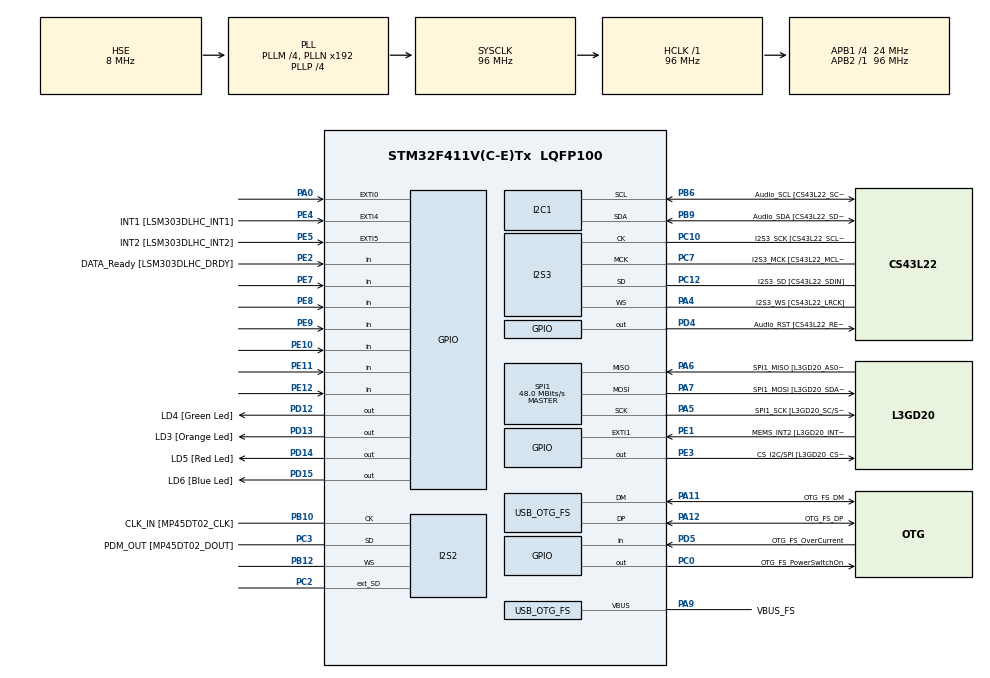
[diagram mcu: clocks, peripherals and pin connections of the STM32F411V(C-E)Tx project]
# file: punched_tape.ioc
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I2S2.AudioFreq=I2S_AUDIOFREQ_96K
I2S2.ErrorAudioFreq=0.15 %
I2S2.FullDuplexMode=I2S_FULLDUPLEXMODE_ENABLE
I2S2.Instance=SPI$Index
I2S2.RealAudioFreq=96.153 KHz
I2S2.VirtualMode=I2S_MODE_MASTER
I2S3.AudioFreq=I2S_AUDIOFREQ_96K
I2S3.ErrorAudioFreq=-6.99 %
I2S3.FullDuplexMode=I2S_FULLDUPLEXMODE_DISABLE
I2S3.Instance=SPI$Index
I2S3.RealAudioFreq=89.285 KHz
I2S3.VirtualMode=I2S_MODE_MASTER
Mcu.Family=STM32F4
Mcu.Name=STM32F411V(C-E)Tx
Mcu.Package=LQFP100
NVIC.OTG_FS_IRQn=true\:0\:0\:false\:false\:true\:true\:true\:true
NVIC.PriorityGroup=NVIC_PRIORITYGROUP_0
PA0-WKUP.GPIO_ModeDefaultEXTI=GPIO_MODE_EVT_RISING
PA0-WKUP.Signal=GPXTI0
PA10.GPIO_Label=OTG_FS_ID
PA10.Signal=USB_OTG_FS_ID
PA11.GPIO_Label=OTG_FS_DM
PA11.Mode=Host_Only
PA11.Signal=USB_OTG_FS_DM
PA12.GPIO_Label=OTG_FS_DP
PA12.Mode=Host_Only
PA12.Signal=USB_OTG_FS_DP
PA13.GPIO_Label=SWDIO
PA13.Mode=Serial_Wire
PA13.Signal=SYS_JTMS-SWDIO
PA14.GPIO_Label=SWCLK
PA14.Mode=Serial_Wire
PA14.Signal=SYS_JTCK-SWCLK
PA4.GPIO_Label=I2S3_WS [CS43L22_LRCK]
PA4.GPIO_Mode=GPIO_MODE_AF_PP
PA4.GPIO_PuPd=GPIO_NOPULL
PA4.GPIO_Speed=GPIO_SPEED_FREQ_LOW
PA4.Mode=Half_Duplex_Master
PA4.Signal=I2S3_WS
PA5.GPIO_Label=SPI1_SCK [L3GD20_SC/SPC]
PA5.Mode=Full_Duplex_Master
PA5.Signal=SPI1_SCK
PA6.GPIO_Label=SPI1_MISO [L3GD20_AS0/SDO]
PA6.Mode=Full_Duplex_Master
PA6.Signal=SPI1_MISO
PA7.GPIO_Label=SPI1_MOSI [L3GD20_SDA/SDI/SDO]
PA7.Mode=Full_Duplex_Master
PA7.Signal=SPI1_MOSI
PA9.GPIO_Label=VBUS_FS
PA9.Mode=Activate_VBUS
PA9.Signal=USB_OTG_FS_VBUS
PB10.GPIO_Label=CLK_IN [MP45DT02_CLK]
PB10.Mode=Full_Duplex_Master
PB10.Signal=I2S2_CK
PB12.Mode=Full_Duplex_Master
PB12.Signal=I2S2_WS
PB3.GPIO_Label=SWO
PB3.Signal=SYS_JTDO-SWO
PB6.GPIO_Label=Audio_SCL [CS43L22_SCL]
PB6.GPIO_Mode=GPIO_MODE_AF_OD
PB6.GPIO_Pu=GPIO_PULLUP
PB6.GPIO_PuPd=GPIO_NOPULL
PB6.GPIO_Speed=GPIO_SPEED_FREQ_LOW
PB6.Mode=I2C
PB6.Signal=I2C1_SCL
PB9.GPIO_Label=Audio_SDA [CS43L22_SDA]
PB9.GPIO_Mode=GPIO_MODE_AF_OD
PB9.GPIO_Pu=GPIO_PULLUP
PB9.GPIO_PuPd=GPIO_NOPULL
PB9.GPIO_Speed=GPIO_SPEED_FREQ_LOW
PB9.Mode=I2C
PB9.Signal=I2C1_SDA
PC0.GPIO_Label=OTG_FS_PowerSwitchOn
PC0.PinState=GPIO_PIN_SET
PC0.Signal=GPIO_Output
PC10.GPIO_Label=I2S3_SCK [CS43L22_SCLK]
PC10.GPIO_Mode=GPIO_MODE_AF_PP
PC10.GPIO_PuPd=GPIO_NOPULL
PC10.GPIO_Speed=GPIO_SPEED_FREQ_LOW
PC10.Mode=Half_Duplex_Master
PC10.Signal=I2S3_CK
PC12.GPIO_Label=I2S3_SD [CS43L22_SDIN]
PC12.GPIO_Mode=GPIO_MODE_AF_PP
PC12.GPIO_PuPd=GPIO_NOPULL
PC12.GPIO_Speed=GPIO_SPEED_FREQ_LOW
PC12.Mode=Half_Duplex_Master
PC12.Signal=I2S3_SD
PC14-OSC32_IN.GPIO_Label=PC14-OSC32_IN
PC14-OSC32_IN.Mode=LSE-External-Oscillator
PC14-OSC32_IN.Signal=RCC_OSC32_IN
PC15-OSC32_OUT.GPIO_Label=PC15-OSC32_OUT
PC15-OSC32_OUT.Mode=LSE-External-Oscillator
PC15-OSC32_OUT.Signal=RCC_OSC32_OUT
PC2.Mode=Full_Duplex_Master
PC2.Signal=I2S2_ext_SD
PC3.GPIO_Label=PDM_OUT [MP45DT02_DOUT]
PC3.Mode=Full_Duplex_Master
PC3.Signal=I2S2_SD
PC7.GPIO_Label=I2S3_MCK [CS43L22_MCLK]
PC7.GPIO_Mode=GPIO_MODE_AF_PP
PC7.GPIO_PuPd=GPIO_NOPULL
PC7.GPIO_Speed=GPIO_SPEED_FREQ_LOW
PC7.Mode=Master_Clock_Activated
PC7.Signal=I2S3_MCK
PD12.GPIO_Label=LD4 [Green Led]
PD12.GPIO_PuPd=GPIO_NOPULL
PD12.GPIO_Speed=GPIO_SPEED_FREQ_LOW
PD12.Signal=GPIO_Output
PD13.GPIO_Label=LD3 [Orange Led]
PD13.GPIO_PuPd=GPIO_NOPULL
PD13.GPIO_Speed=GPIO_SPEED_FREQ_LOW
PD13.Signal=GPIO_Output
PD14.GPIO_Label=LD5 [Red Led]
PD14.GPIO_PuPd=GPIO_NOPULL
PD14.GPIO_Speed=GPIO_SPEED_FREQ_LOW
PD14.Signal=GPIO_Output
PD15.GPIO_Label=LD6 [Blue Led]
PD15.GPIO_PuPd=GPIO_NOPULL
PD15.GPIO_Speed=GPIO_SPEED_FREQ_LOW
PD15.Signal=GPIO_Output
PD4.GPIO_Label=Audio_RST [CS43L22_RESET]
PD4.Signal=GPIO_Output
PD5.GPIO_Label=OTG_FS_OverCurrent
PD5.Signal=GPIO_Input
PE1.GPIO_Label=MEMS_INT2 [L3GD20_INT2]
PE1.GPIO_ModeDefaultEXTI=GPIO_MODE_EVT_RISING
PE1.Signal=GPXTI1
PE10.Signal=GPIO_Input
PE11.Signal=GPIO_Input
PE12.Signal=GPIO_Input
PE2.GPIO_Label=DATA_Ready [LSM303DLHC_DRDY]
PE2.Signal=GPIO_Input
PE3.GPIO_Label=CS_I2C/SPI [L3GD20_CS_I2C/SPI]
PE3.Signal=GPIO_Output
PE4.GPIO_Label=INT1 [LSM303DLHC_INT1]
PE4.GPIO_ModeDefaultEXTI=GPIO_MODE_EVT_RISING
PE4.Signal=GPXTI4
PE5.GPIO_Label=INT2 [LSM303DLHC_INT2]
PE5.GPIO_ModeDefaultEXTI=GPIO_MODE_EVT_RISING
PE5.Signal=GPXTI5
PE7.Signal=GPIO_Input
PE8.Signal=GPIO_Input
PE9.Signal=GPIO_Input
PH0\ -\ OSC_IN.GPIO_Label=PH0-OSC_IN
PH0\ -\ OSC_IN.Mode=HSE-External-Oscillator
PH0\ -\ OSC_IN.Signal=RCC_OSC_IN
PH1\ -\ OSC_OUT.GPIO_Label=PH1-OSC_OUT
PH1\ -\ OSC_OUT.Mode=HSE-External-Oscillator
PH1\ -\ OSC_OUT.Signal=RCC_OSC_OUT
ProjectManager.HeapSize=0x200
ProjectManager.StackSize=0x400
ProjectManager.TargetToolchain=STM32CubeIDE
RCC.48MHZClocksFreq_Value=48000000
RCC.AHBFreq_Value=96000000
RCC.APB1CLKDivider=RCC_HCLK_DIV4
RCC.APB1Freq_Value=24000000
RCC.APB1TimFreq_Value=48000000
RCC.APB2Freq_Value=96000000
RCC.APB2TimFreq_Value=96000000
RCC.CortexFreq_Value=96000000
RCC.HCLKFreq_Value=96000000
RCC.HSE_VALUE=8000000
RCC.HSI_VALUE=16000000
RCC.PLLI2SM=5
RCC.PLLI2SN=200
RCC.PLLM=4
RCC.PLLP=RCC_PLLP_DIV4
RCC.PLLQ=8
RCC.SYSCLKFreq_VALUE=96000000
RCC.SYSCLKSource=RCC_SYSCLKSOURCE_PLLCLK
RCC.VCOOutputFreq_Value=384000000
SPI1.BaudRatePrescaler=SPI_BAUDRATEPRESCALER_2
SPI1.CalculateBaudRate=48.0 MBits/s
SPI1.Direction=SPI_DIRECTION_2LINES
SPI1.Mode=SPI_MODE_MASTER
SPI1.VirtualType=VM_MASTER
USB_HOST.BSP.number=1
USB_HOST.USBH_HandleTypeDef=hUsbHostFS
USB_HOST.VirtualModeFS=Cdc
USB_HOST0.BSP.STBoard=false
USB_HOST0.BSP.api=Unknown
USB_HOST0.BSP.instance=PC0
USB_HOST0.BSP.ip=GPIO
USB_HOST0.BSP.mode=Output
USB_HOST0.BSP.name=Drive_VBUS_FS
USB_HOST0.BSP.solution=PC0
USB_OTG_FS.VirtualMode=Host_Only
USB_OTG_FS.phy_itface=HCD_PHY_EMBEDDED
VP_USB_HOST_VS_USB_HOST_CDC_FS.Mode=CDC_FS
board=STM32F411E-DISCO

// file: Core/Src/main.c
/* USER CODE BEGIN Header */
/**
  ******************************************************************************
  * @file           : main.c
  * @brief          : Main program body
  ******************************************************************************
  * @attention
  *
  * Copyright (c) 2023 STMicroelectronics.
  * All rights reserved.
  *
  * This software is licensed under terms that can be found in the LICENSE file
  * in the root directory of this software component.
  * If no LICENSE file comes with this software, it is provided AS-IS.
  *
  ******************************************************************************
  */
/* USER CODE END Header */
#include "main.h"
#include "i2c.h"
#include "i2s.h"
#include "spi.h"
#include "usb_host.h"
#include "gpio.h"

/* USER CODE BEGIN Includes */
#include <stdio.h>
#include <stdlib.h>
/* USER CODE END Includes */

void SystemClock_Config(void);
void PeriphCommonClock_Config(void);
void MX_USB_HOST_Process(void);

/* USER CODE BEGIN 0 */
void read_phototransistors(){
    	  if(HAL_GPIO_ReadPin(GPIOE, GPIO_PIN_7)==GPIO_PIN_SET){
    	  		  HAL_GPIO_WritePin(GPIOD, GPIO_PIN_15,GPIO_PIN_SET);
    	  	  }
    	  	  else{
    	  		  HAL_GPIO_WritePin(GPIOD, GPIO_PIN_15,GPIO_PIN_RESET);
    	  	  }
    	  	  if(HAL_GPIO_ReadPin(GPIOE, GPIO_PIN_8)==GPIO_PIN_SET){
    	  	  	  HAL_GPIO_WritePin(GPIOD, GPIO_PIN_14,GPIO_PIN_SET);

    	  	  	  }
    	  	  else{
    	  	      HAL_GPIO_WritePin(GPIOD, GPIO_PIN_14,GPIO_PIN_RESET);
    	  	  	  }
    	  	  if(HAL_GPIO_ReadPin(GPIOE, GPIO_PIN_9)==GPIO_PIN_SET){
    	  	  	  	  HAL_GPIO_WritePin(GPIOD, GPIO_PIN_13,GPIO_PIN_SET);

    	  	  	  	  }
    	  	  else{
    	  	  	      HAL_GPIO_WritePin(GPIOD, GPIO_PIN_13,GPIO_PIN_RESET);
    	  	  	  	  }
    	  	  if(HAL_GPIO_ReadPin(GPIOE, GPIO_PIN_10)==GPIO_PIN_SET){
    	  	  		  HAL_GPIO_WritePin(GPIOD, GPIO_PIN_12,GPIO_PIN_SET);

    	  	  	  }
    	  	  	 else{
    	  	  		  HAL_GPIO_WritePin(GPIOD, GPIO_PIN_12,GPIO_PIN_RESET);}
      }
/* USER CODE END 0 */

int main(void)
{
  /* USER CODE BEGIN 1 */
	extern void initialise_monitor_handles(void);
  /* USER CODE END 1 */

  /* MCU Configuration--------------------------------------------------------*/

  /* Reset of all peripherals, Initializes the Flash interface and the Systick. */
  HAL_Init();

  /* Configure the system clock */
  SystemClock_Config();

/* Configure the peripherals common clocks */
  PeriphCommonClock_Config();

  /* Initialize all configured peripherals */
  MX_GPIO_Init();
  MX_I2C1_Init();
  MX_I2S2_Init();
  MX_I2S3_Init();
  MX_SPI1_Init();
  MX_USB_HOST_Init();
  /* USER CODE BEGIN 2 */
  initialise_monitor_handles();
  /* USER CODE END 2 */

  /* Infinite loop */
  /* USER CODE BEGIN WHILE */
    int states[] = {0, 0, 0, 0, 0, 0};
    uint16_t pins[] = {GPIO_PIN_7, GPIO_PIN_8, GPIO_PIN_9, GPIO_PIN_10, GPIO_PIN_11, GPIO_PIN_12};
    FILE* file_path = fopen("D:\\text1.txt", "w");
    while (1)
    {

    /* USER CODE END WHILE */
    MX_USB_HOST_Process();

    /* USER CODE BEGIN 3 */

       	for (int i = 0; i < 6; ++i){
       		if (HAL_GPIO_ReadPin(GPIOE, pins[i]) == GPIO_PIN_SET){
      				states[i] = 1;
       		} else{
       			states[i] = 0;
       		}
       	}
       	printf("%i%i%i %i %i%i\r\n", states[0], states[1], states[2], states[3], states[4], states[5]);

     	 if (HAL_GPIO_ReadPin(GPIOE, GPIO_PIN_10) == GPIO_PIN_SET ){
		 HAL_Delay(300);
		for (int i = 0; i < 6; ++i){
			if (HAL_GPIO_ReadPin(GPIOE, pins[i]) == GPIO_PIN_SET){
					states[i] = 1;
			} else{
				states[i] = 0;
			}
     	    	}
     	     	printf("%i%i%i %i %i%i\r\n", states[0], states[1], states[2], states[3], states[4], states[5]);
		fprintf(file_path, "%i%i%i %i %i%i\r\n", states[0], states[1], states[2], states[3], states[4], states[5]);
		fflush(file_path);
		fclose(file_path);
		file_path = fopen("D:\\text1.txt", "a");
		while( HAL_GPIO_ReadPin(GPIOE, GPIO_PIN_10) == GPIO_PIN_SET ){
		}
     	 }
}

  /* USER CODE END 3 */
}

void SystemClock_Config(void)
{
  RCC_OscInitTypeDef RCC_OscInitStruct = {0};
  RCC_ClkInitTypeDef RCC_ClkInitStruct = {0};

  /** Configure the main internal regulator output voltage
  */
  __HAL_RCC_PWR_CLK_ENABLE();
  __HAL_PWR_VOLTAGESCALING_CONFIG(PWR_REGULATOR_VOLTAGE_SCALE1);

  /** Initializes the RCC Oscillators according to the specified parameters
  * in the RCC_OscInitTypeDef structure.
  */
  RCC_OscInitStruct.OscillatorType = RCC_OSCILLATORTYPE_HSE;
  RCC_OscInitStruct.HSEState = RCC_HSE_ON;
  RCC_OscInitStruct.PLL.PLLState = RCC_PLL_ON;
  RCC_OscInitStruct.PLL.PLLSource = RCC_PLLSOURCE_HSE;
  RCC_OscInitStruct.PLL.PLLM = 4;
  RCC_OscInitStruct.PLL.PLLN = 192;
  RCC_OscInitStruct.PLL.PLLP = RCC_PLLP_DIV4;
  RCC_OscInitStruct.PLL.PLLQ = 8;
  if (HAL_RCC_OscConfig(&RCC_OscInitStruct) != HAL_OK)
  {
    Error_Handler();
  }

  /** Initializes the CPU, AHB and APB buses clocks
  */
  RCC_ClkInitStruct.ClockType = RCC_CLOCKTYPE_HCLK|RCC_CLOCKTYPE_SYSCLK
                              |RCC_CLOCKTYPE_PCLK1|RCC_CLOCKTYPE_PCLK2;
  RCC_ClkInitStruct.SYSCLKSource = RCC_SYSCLKSOURCE_PLLCLK;
  RCC_ClkInitStruct.AHBCLKDivider = RCC_SYSCLK_DIV1;
  RCC_ClkInitStruct.APB1CLKDivider = RCC_HCLK_DIV4;
  RCC_ClkInitStruct.APB2CLKDivider = RCC_HCLK_DIV1;

  if (HAL_RCC_ClockConfig(&RCC_ClkInitStruct, FLASH_LATENCY_3) != HAL_OK)
  {
    Error_Handler();
  }
}

void PeriphCommonClock_Config(void)
{
  RCC_PeriphCLKInitTypeDef PeriphClkInitStruct = {0};

  /** Initializes the peripherals clock
  */
  PeriphClkInitStruct.PeriphClockSelection = RCC_PERIPHCLK_I2S;
  PeriphClkInitStruct.PLLI2S.PLLI2SN = 200;
  PeriphClkInitStruct.PLLI2S.PLLI2SM = 5;
  PeriphClkInitStruct.PLLI2S.PLLI2SR = 2;
  if (HAL_RCCEx_PeriphCLKConfig(&PeriphClkInitStruct) != HAL_OK)
  {
    Error_Handler();
  }
}

void Error_Handler(void)
{
  __disable_irq();
  while (1)
  {
  }
}
